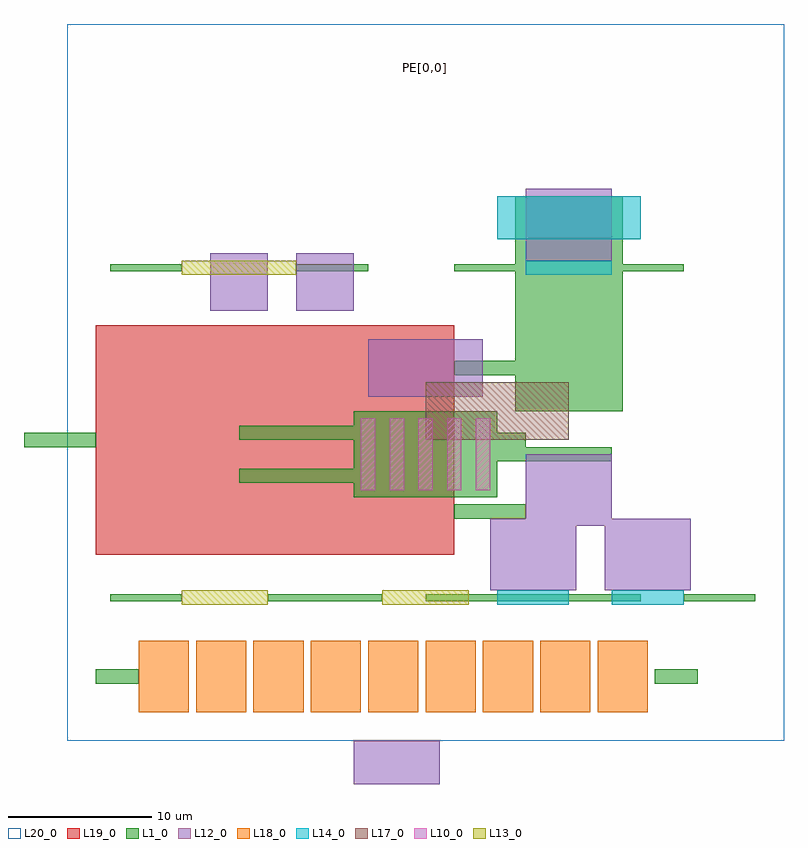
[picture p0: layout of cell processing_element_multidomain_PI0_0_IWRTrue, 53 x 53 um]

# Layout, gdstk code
import gdstk
lib = gdstk.Library(unit=1e-6, precision=1e-09)
def R(c, l, rs):  # rectangles x0, y0, x1, y1
    for r in rs: c.add(gdstk.rectangle(r[:2], r[2:], *l))
def A(c, l, x, y, w, h, nx, ny, dx, dy):  # array of equal rectangles
    R(c, l, [(x+i*dx, y+j*dy, x+i*dx+w, y+j*dy+h) for i in range(nx) for j in range(ny)])
L1_0 = (1, 0)
L10_0 = (10, 0)
L12_0 = (12, 0)
L13_0 = (13, 0)
L14_0 = (14, 0)
L17_0 = (17, 0)
L18_0 = (18, 0)
L19_0 = (19, 0)
L20_0 = (20, 0)

mode_selector_3way = lib.new_cell('mode_selector_3way')
A(mode_selector_3way, L1_0, 25, -5.5, 5, 1, 1, 3, 0, 5)
R(mode_selector_3way, L1_0, [(-5,-0.5,0,0.5)])
R(mode_selector_3way, L12_0, [(8,9,12,13), (14,9,18,13)])
R(mode_selector_3way, L19_0, [(0,-8,25,8)])
mode_selector_3way.add(gdstk.Label('MUX', (12,0), layer=100, texttype=0))
mode_selector_3way.add(gdstk.Label('LIN', (32,5), layer=100, texttype=0))
mode_selector_3way.add(gdstk.Label('LOG', (32,0), layer=100, texttype=0))
mode_selector_3way.add(gdstk.Label('L-L', (32,-5), layer=100, texttype=0))

optical_log_converter_l8 = lib.new_cell('optical_log_converter_L8')
R(optical_log_converter_l8, L1_0, [(-5,-0.25,0,0.25), (8,-0.25,13,0.25)])
R(optical_log_converter_l8, L13_0, [(0,-0.5,8,0.5)])
optical_log_converter_l8.add(gdstk.Label('LOG', (4,0), layer=100, texttype=0))

optical_log_converter_l6 = lib.new_cell('optical_log_converter_L6')
R(optical_log_converter_l6, L1_0, [(-5,-0.25,0,0.25), (6,-0.25,11,0.25)])
R(optical_log_converter_l6, L13_0, [(0,-0.5,6,0.5)])
optical_log_converter_l6.add(gdstk.Label('LOG', (3,0), layer=100, texttype=0))

optical_adder_subtractor = lib.new_cell('optical_adder_subtractor_L10')
R(optical_adder_subtractor, L1_0, [(0,-3,10,3), (-8,-2,0,-1), (10,-0.5,18,0.5), (-8,1,0,2)])
A(optical_adder_subtractor, L10_0, 0.5, -2.5, 1, 5, 5, 1, 2, 0)
R(optical_adder_subtractor, L12_0, [(1,4,9,8)])
optical_adder_subtractor.add(gdstk.Label('ADD/SUB', (5,0), layer=100, texttype=0))

optical_exp_converter_l6 = lib.new_cell('optical_exp_converter_L6')
R(optical_exp_converter_l6, L1_0, [(-5,-0.25,0,0.25), (6,-0.25,11,0.25)])
R(optical_exp_converter_l6, L12_0, [(0,0.5,6,5.5)])
R(optical_exp_converter_l6, L14_0, [(0,-0.5,6,0.5)])
optical_exp_converter_l6.add(gdstk.Label('EXP', (3,0), layer=100, texttype=0))

optical_exp_converter_l5 = lib.new_cell('optical_exp_converter_L5')
R(optical_exp_converter_l5, L1_0, [(-5,-0.25,0,0.25), (5,-0.25,10,0.25)])
R(optical_exp_converter_l5, L12_0, [(-0.5,0.5,5.5,5.5)])
R(optical_exp_converter_l5, L14_0, [(0,-0.5,5,0.5)])
optical_exp_converter_l5.add(gdstk.Label('EXP', (2.5,0), layer=100, texttype=0))

optical_accumulator_ll15 = lib.new_cell('optical_accumulator_LL15')
R(optical_accumulator_ll15, L1_0, [(6.25,0,10,15), (10,0,13.75,15)])
R(optical_accumulator_ll15, L12_0, [(7,-8,13,-3)])
R(optical_accumulator_ll15, L14_0, [(5,12,15,15)])
R(optical_accumulator_ll15, L17_0, [(0,-2,10,2)])
optical_accumulator_ll15.add(gdstk.Label('ACC', (10,7), layer=100, texttype=0))

weight_register_9trit = lib.new_cell('weight_register_9trit')
R(weight_register_9trit, L1_0, [(-3,2,0,3), (36,2,39,3)])
R(weight_register_9trit, L12_0, [(15,-5,21,-2)])
A(weight_register_9trit, L18_0, 0, 0, 3.5, 5, 9, 1, 4, 0)
weight_register_9trit.add(gdstk.Label('W[8:0]', (18,7), layer=100, texttype=0))

processing_element_multi = lib.new_cell('processing_element_multidomain_PI0_0_IWRTrue')
R(processing_element_multi, L20_0, [(0,0,50,50)])
processing_element_multi.add(gdstk.Reference(mode_selector_3way, (2,21)))
processing_element_multi.add(gdstk.Reference(optical_log_converter_l8, (8,33)))
processing_element_multi.add(gdstk.Reference(optical_log_converter_l6, (8,10)))
processing_element_multi.add(gdstk.Reference(optical_log_converter_l6, (22,10)))
processing_element_multi.add(gdstk.Reference(optical_adder_subtractor, (20,20)))
processing_element_multi.add(gdstk.Reference(optical_exp_converter_l6, (32,33)))
processing_element_multi.add(gdstk.Reference(optical_exp_converter_l5, (30,10)))
processing_element_multi.add(gdstk.Reference(optical_exp_converter_l5, (38,10)))
processing_element_multi.add(gdstk.Reference(optical_accumulator_ll15, (25,23)))
processing_element_multi.add(gdstk.Reference(weight_register_9trit, (5,2)))
processing_element_multi.add(gdstk.Label('PE[0,0]', (25,47), layer=100, texttype=0))

lib.write_gds('processing_element_multidomain_PI0_0_IWRTrue.gds')
